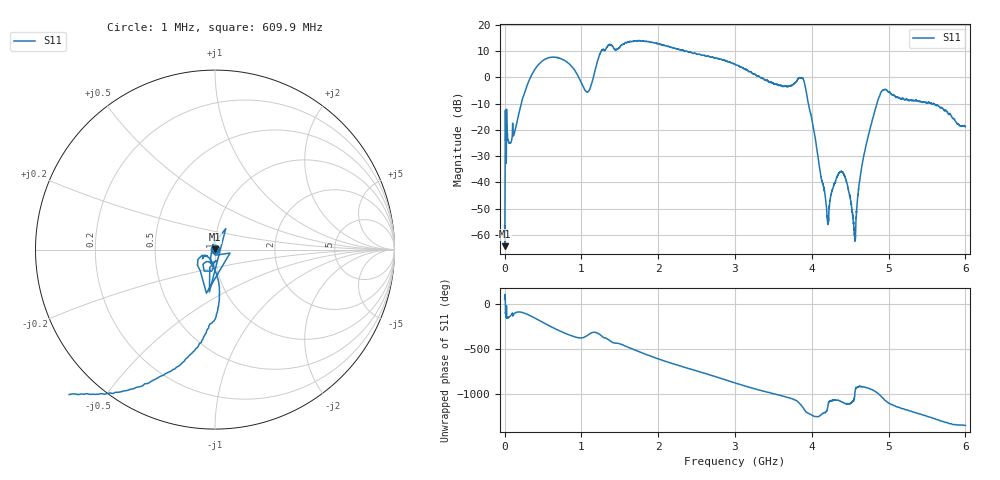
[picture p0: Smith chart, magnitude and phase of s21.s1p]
#  HZ  S  DB  R  50.0
! Rohde & Schwarz ZVL
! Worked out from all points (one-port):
!   4001 points, 1 MHz to 6 GHz, reference 50 ohm
!   lowest |S11| = -64.2 dB at 2.5 MHz (marker M1), VSWR 1.00, Z = 50 + j0.0613 ohm
!   |S11| at or under -10 dB: start of sweep to 218.2 MHz; 3.955 GHz to 4.848 GHz (893 MHz wide, 20.3 % of centre); 5.595 GHz to end of sweep (the widest 3 of 6)
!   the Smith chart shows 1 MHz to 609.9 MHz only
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1000000  -56.46 57.1
2499750  -64.24 91.6
3.6094e8  1.32 -136.3
5.019165e8  6.47 158.5
6.278955e8  7.69 102.7
7.50875e8  6.86 52.9
9.623398e8  0.29 -10.7
1.13781e9  -2.11 45.4
1.229295e9  7.74 30.9
1.344776e9  12.04 -28.2
1.392768e9  12.23 -56.2
1.50075e9  11.41 -78.5
1.628229e9  13.60 -122.9
1.7992e9  13.88 177.5
2.012165e9  12.75 110.8
2.250625e9  10.87 44.0
2.438094e9  9.38 -3.9
2.658557e9  8.00 -61.2
3.0005e9  4.88 -154.4
3.286952e9  0.44 132.6
3.750375e9  -2.77 26.7
3.885352e9  -0.30 -67.9
4.2003e9  -52.75 -94.5
4.50025e9  -45.30 -25.6
4.56324e9  -59.40 103.5
4.900683e9  -5.73 57.4
5.250125e9  -8.47 -97.9
6e9  -18.75 92.6
